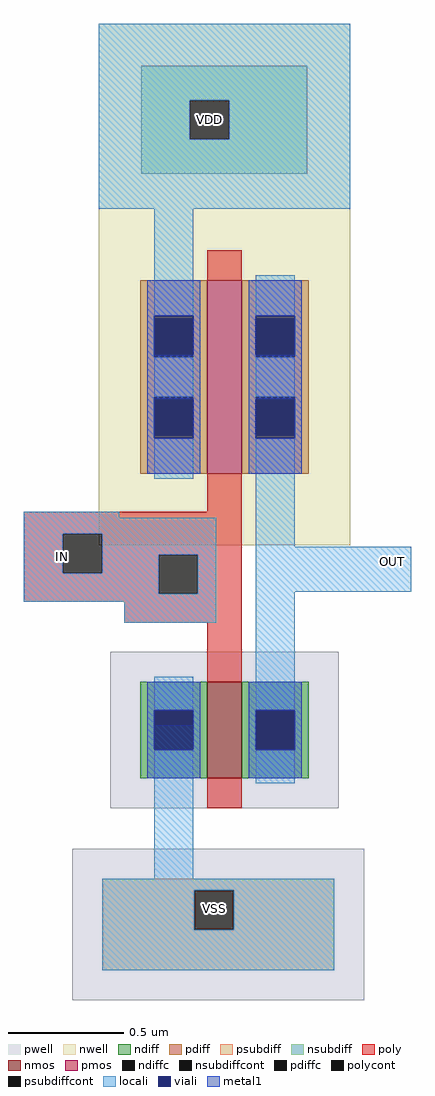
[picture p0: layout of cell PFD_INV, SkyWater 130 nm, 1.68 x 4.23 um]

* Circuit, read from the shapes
.subckt PFD_INV IN OUT VDD VSS
XM1 OUT IN VSS VSS sky130_fd_pr__nfet_01v8 w=0.42 l=0.15
XM2 OUT IN VDD VDD sky130_fd_pr__pfet_01v8 w=0.84 l=0.15
.ends

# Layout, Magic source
magic
tech sky130A
magscale 1 2
<< nwell >>
rect 0 292 218 452
<< pwell >>
rect -23 -394 230 -263
<< psubdiff >>
rect 3 -299 204 -289
rect 3 -333 83 -299
rect 117 -333 204 -299
rect 3 -368 204 -333
<< nsubdiff >>
rect 37 386 181 416
rect 37 352 79 386
rect 113 352 181 386
rect 37 322 181 352
<< psubdiffcont >>
rect 83 -333 117 -299
<< nsubdiffcont >>
rect 79 352 113 386
<< poly >>
rect 94 29 124 38
rect -65 10 124 29
rect -65 -24 -31 10
rect 3 -8 124 10
rect 3 -24 52 -8
rect -65 -42 52 -24
rect 86 -42 124 -8
rect -65 -49 124 -42
rect 22 -67 124 -49
rect 94 -92 124 -67
<< polycont >>
rect -31 -24 3 10
rect 52 -42 86 -8
<< locali >>
rect 0 386 218 452
rect 0 352 79 386
rect 113 352 218 386
rect 0 292 218 352
rect 48 234 82 292
rect -65 24 18 29
rect -65 10 102 24
rect -65 -24 -31 10
rect 3 -8 102 10
rect 3 -24 52 -8
rect -65 -42 52 -24
rect 86 -42 102 -8
rect -65 -49 102 -42
rect 22 -67 102 -49
rect 136 -1 170 58
rect 136 -40 271 -1
rect 136 -138 170 -40
rect 48 -289 82 -156
rect 3 -299 204 -289
rect 3 -333 83 -299
rect 117 -333 204 -299
rect 3 -368 204 -333
use sky130_fd_pr__nfet_01v8_A6LSUL  sky130_fd_pr__nfet_01v8_A6LSUL_0
transform 1 0 109 0 1 -160
box -99 -68 99 68
use sky130_fd_pr__pfet_01v8_54DJGB  sky130_fd_pr__pfet_01v8_54DJGB_0
transform 1 0 109 0 1 146
box -109 -146 109 146
<< labels >>
flabel locali s -31 -10 -31 -10 0 FreeSans 600 0 0 0 IN
flabel locali s 255 -14 255 -14 0 FreeSans 600 0 0 0 OUT
flabel locali s 96 369 96 369 0 FreeSans 600 0 0 0 VDD
flabel locali s 100 -315 100 -315 0 FreeSans 600 0 0 0 VSS
<< end >>

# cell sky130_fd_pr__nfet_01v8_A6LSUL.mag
magic
tech sky130A
magscale 1 2
<< pwell >>
rect -99 -68 99 68
<< nmos >>
rect -15 -42 15 42
<< ndiff >>
rect -73 17 -15 42
rect -73 -17 -61 17
rect -27 -17 -15 17
rect -73 -42 -15 -17
rect 15 17 73 42
rect 15 -17 27 17
rect 61 -17 73 17
rect 15 -42 73 -17
<< ndiffc >>
rect -61 -17 -27 17
rect 27 -17 61 17
<< poly >>
rect -15 42 15 68
rect -15 -68 15 -42
<< locali >>
rect -61 17 -27 46
rect -61 -46 -27 -17
rect 27 17 61 46
rect 27 -46 61 -17
<< viali >>
rect -61 -17 -27 17
rect 27 -17 61 17
<< metal1 >>
rect -67 17 -21 42
rect -67 -17 -61 17
rect -27 -17 -21 17
rect -67 -42 -21 -17
rect 21 17 67 42
rect 21 -17 27 17
rect 61 -17 67 17
rect 21 -42 67 -17
<< end >>

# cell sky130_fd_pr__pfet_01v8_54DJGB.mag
magic
tech sky130A
magscale 1 2
<< nwell >>
rect -109 -146 109 146
<< pmos >>
rect -15 -84 15 84
<< pdiff >>
rect -73 51 -15 84
rect -73 17 -61 51
rect -27 17 -15 51
rect -73 -17 -15 17
rect -73 -51 -61 -17
rect -27 -51 -15 -17
rect -73 -84 -15 -51
rect 15 51 73 84
rect 15 17 27 51
rect 61 17 73 51
rect 15 -17 73 17
rect 15 -51 27 -17
rect 61 -51 73 -17
rect 15 -84 73 -51
<< pdiffc >>
rect -61 17 -27 51
rect -61 -51 -27 -17
rect 27 17 61 51
rect 27 -51 61 -17
<< poly >>
rect -15 84 15 110
rect -15 -110 15 -84
<< locali >>
rect -61 53 -27 88
rect -61 -17 -27 17
rect -61 -88 -27 -53
rect 27 53 61 88
rect 27 -17 61 17
rect 27 -88 61 -53
<< viali >>
rect -61 51 -27 53
rect -61 19 -27 51
rect -61 -51 -27 -19
rect -61 -53 -27 -51
rect 27 51 61 53
rect 27 19 61 51
rect 27 -51 61 -19
rect 27 -53 61 -51
<< metal1 >>
rect -67 53 -21 84
rect -67 19 -61 53
rect -27 19 -21 53
rect -67 -19 -21 19
rect -67 -53 -61 -19
rect -27 -53 -21 -19
rect -67 -84 -21 -53
rect 21 53 67 84
rect 21 19 27 53
rect 61 19 67 53
rect 21 -19 67 19
rect 21 -53 27 -19
rect 61 -53 67 -19
rect 21 -84 67 -53
<< end >>
